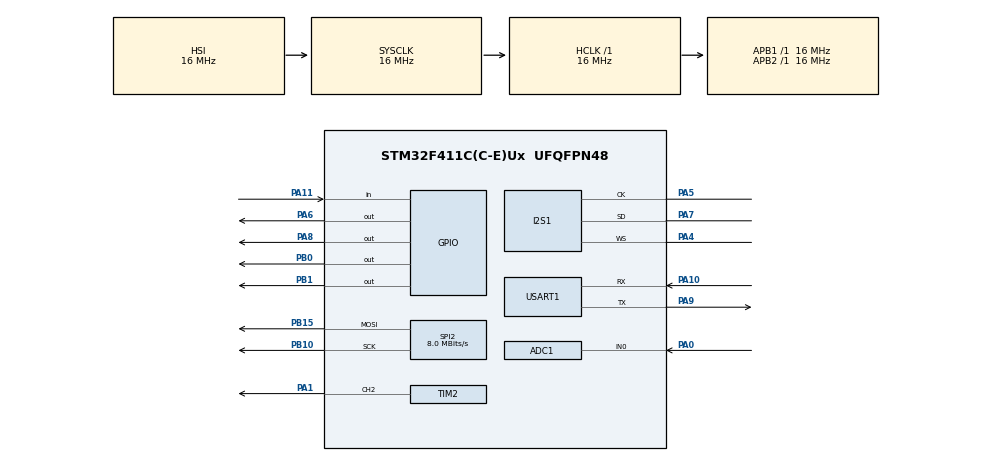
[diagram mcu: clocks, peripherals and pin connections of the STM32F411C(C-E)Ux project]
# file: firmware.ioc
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ADC1.Channel-0\#ChannelRegularConversion=ADC_CHANNEL_0
ADC1.NbrOfConversionFlag=1
ADC1.Rank-0\#ChannelRegularConversion=1
ADC1.SamplingTime-0\#ChannelRegularConversion=ADC_SAMPLETIME_3CYCLES
ADC1.master=1
Dma.Request0=SPI1_RX
Dma.SPI1_RX.0.Direction=DMA_PERIPH_TO_MEMORY
Dma.SPI1_RX.0.FIFOMode=DMA_FIFOMODE_DISABLE
Dma.SPI1_RX.0.Instance=DMA2_Stream0
Dma.SPI1_RX.0.MemDataAlignment=DMA_MDATAALIGN_HALFWORD
Dma.SPI1_RX.0.MemInc=DMA_MINC_ENABLE
Dma.SPI1_RX.0.Mode=DMA_CIRCULAR
Dma.SPI1_RX.0.PeriphDataAlignment=DMA_PDATAALIGN_HALFWORD
Dma.SPI1_RX.0.PeriphInc=DMA_PINC_DISABLE
Dma.SPI1_RX.0.Priority=DMA_PRIORITY_LOW
I2S1.AudioFreq=I2S_AUDIOFREQ_16K
I2S1.CPOL=I2S_CPOL_LOW
I2S1.DataFormat=I2S_DATAFORMAT_24B
I2S1.ErrorAudioFreq=-0.26 %
I2S1.FullDuplexMode=I2S_FULLDUPLEXMODE_DISABLE
I2S1.Instance=SPI$Index
I2S1.Mode=I2S_MODE_SLAVE_RX
I2S1.RealAudioFreq=15.957 KHz
I2S1.Standard=I2S_STANDARD_PHILIPS
I2S1.VirtualMode=I2S_MODE_SLAVE
Mcu.Family=STM32F4
Mcu.Name=STM32F411C(C-E)Ux
Mcu.Package=UFQFPN48
NVIC.DMA2_Stream0_IRQn=true\:0\:0\:false\:false\:true\:false\:true\:true
NVIC.PriorityGroup=NVIC_PRIORITYGROUP_4
PA0-WKUP.Signal=ADCx_IN0
PA1.Signal=S_TIM2_CH2
PA10.Mode=Asynchronous
PA10.Signal=USART1_RX
PA11.Signal=GPIO_Input
PA13.Signal=SYS_JTMS-SWDIO
PA14.Signal=SYS_JTCK-SWCLK
PA4.Mode=Half_Duplex_Slave
PA4.Signal=I2S1_WS
PA5.Mode=Half_Duplex_Slave
PA5.Signal=I2S1_CK
PA6.Signal=GPIO_Output
PA7.Mode=Half_Duplex_Slave
PA7.Signal=I2S1_SD
PA8.Signal=GPIO_Output
PA9.Mode=Asynchronous
PA9.Signal=USART1_TX
PB0.Signal=GPIO_Output
PB1.Signal=GPIO_Output
PB10.Mode=TX_Only_Simplex_Unidirect_Master
PB10.Signal=SPI2_SCK
PB15.Mode=TX_Only_Simplex_Unidirect_Master
PB15.Signal=SPI2_MOSI
PB3.Signal=SYS_JTDO-SWO
ProjectManager.HeapSize=0x200
ProjectManager.StackSize=0x400
ProjectManager.TargetToolchain=STM32CubeIDE
RCC.AHBFreq_Value=16000000
RCC.APB1Freq_Value=16000000
RCC.APB2Freq_Value=16000000
RCC.CortexFreq_Value=16000000
RCC.HSE_VALUE=25000000
RCC.HSI_VALUE=16000000
RCC.LSE_VALUE=32768
RCC.SYSCLKFreq_VALUE=16000000
RCC.VCOOutputFreq_Value=192000000
SH.ADCx_IN0.0=ADC1_IN0,IN0
SH.S_TIM2_CH2.0=TIM2_CH2,PWM Generation2 CH2
SPI2.CalculateBaudRate=8.0 MBits/s
SPI2.Direction=SPI_DIRECTION_2LINES
SPI2.Mode=SPI_MODE_MASTER
SPI2.VirtualType=VM_MASTER
TIM2.Channel-PWM\ Generation2\ CH2=TIM_CHANNEL_2
TIM2.Prescaler=1600-1
USART1.VirtualMode=VM_ASYNC
VP_TIM2_VS_ClockSourceINT.Mode=Internal
board=custom

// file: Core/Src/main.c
/* USER CODE BEGIN Header */
/**
  ******************************************************************************
  * @file           : main.c
  * @brief          : Main program body
  ******************************************************************************
  * @attention
  *
  * Copyright (c) 2025 STMicroelectronics.
  * All rights reserved.
  *
  * This software is licensed under terms that can be found in the LICENSE file
  * in the root directory of this software component.
  * If no LICENSE file comes with this software, it is provided AS-IS.
  *
  ******************************************************************************
  */
/* USER CODE END Header */
#include "main.h"

/* USER CODE BEGIN Includes */
#include <string.h>
#include <stdio.h>
#include "log.h"

/* USER CODE END Includes */

ADC_HandleTypeDef hadc1;

I2S_HandleTypeDef hi2s1;
DMA_HandleTypeDef hdma_spi1_rx;

SPI_HandleTypeDef hspi2;

TIM_HandleTypeDef htim2;

UART_HandleTypeDef huart1;

/* USER CODE BEGIN PV */
uint8_t isBufferFull = 0;
/* USER CODE END PV */

void SystemClock_Config(void);
static void MX_GPIO_Init(void);
static void MX_DMA_Init(void);
static void MX_ADC1_Init(void);
static void MX_I2S1_Init(void);
static void MX_SPI2_Init(void);
static void MX_TIM2_Init(void);
static void MX_USART1_UART_Init(void);

/* USER CODE BEGIN 0 */

void intArrayToString(const int32_t arr[], size_t len, char *buffer,
                      size_t buffer_size) {
  if (len == 0) {
    buffer[0] = '\0'; // Empty string for an empty array
    return;
  }

  size_t current_pos = 0;
  int chars_written;
// ((int32_t)((i2s_data[52] << 16) + i2s_data[53])) / 256
  for (size_t i = 0; i < len; ++i) {
    // Use snprintf to safely write integer to buffer
    // It returns the number of characters that *would* have been written
    // if buffer_size was large enough, excluding null terminator.
    // %#X
    chars_written = snprintf(buffer + current_pos, buffer_size - current_pos,
                             "%ld", arr[i]);

    // Check if snprintf failed or if the buffer is full
    if (chars_written < 0 ||
        (size_t)chars_written >= (buffer_size - current_pos)) {
      // Handle buffer overflow or error by truncating the string
      buffer[current_pos] = '\0';
      return;
    }
    current_pos += chars_written;

    // Add comma and space if not the last element
    if (i < len - 1) {
      if (current_pos + 2 < buffer_size) { // Check space for ", "
        strcat(buffer + current_pos, ", ");
        current_pos += 2;
      } else {
        buffer[current_pos] = '\0'; // Truncate if no space for separator
        return;
      }
    }
  }
}

void RxCpltCallback(I2S_HandleTypeDef *hi2s) {
  LOG_TRACE("callback!!");
  isBufferFull = 1U;
}

void ConvertI2S(uint32_t *buf, size_t len) {
  for (size_t i = 0; i < len; ++i) {
    buf[i] = (buf[i] >> 24) | ((int32_t)(buf[i] << 16) >> 8);
  }
}

/* USER CODE END 0 */

int main(void)
{

  /* MCU Configuration--------------------------------------------------------*/

  /* Reset of all peripherals, Initializes the Flash interface and the Systick. */
  HAL_Init();

  /* Configure the system clock */
  SystemClock_Config();

  /* Initialize all configured peripherals */
  MX_GPIO_Init();
  MX_DMA_Init();
  MX_ADC1_Init();
  MX_I2S1_Init();
  MX_SPI2_Init();
  MX_TIM2_Init();
  MX_USART1_UART_Init();
  /* USER CODE BEGIN 2 */

  HAL_GPIO_WritePin(GPIOA, GPIO_PIN_8, GPIO_PIN_SET); // Set high

  uint32_t audio_buffer[4096] = {0};

  logger_init(&huart1);

  if (HAL_I2S_RegisterCallback(&hi2s1, HAL_I2S_RX_COMPLETE_CB_ID, RxCpltCallback) == HAL_OK) {
    LOG_DEBUG("Registered callback");
  } else {
    LOG_ERROR("Failed to register callback");
    Error_Handler();
  };

  if (HAL_I2S_Receive_DMA(&hi2s1, (uint16_t*)audio_buffer, 4096) == HAL_OK) {
    LOG_DEBUG("Setup I2S DMA");
  } else {
    LOG_ERROR("Failed to setup I2S DMA");
    Error_Handler();
  }

  /* USER CODE END 2 */

  /* Infinite loop */
  while (1)
  {

    /* USER CODE BEGIN 3 */
    if (!isBufferFull) continue;
    isBufferFull = 0U;

    ConvertI2S(audio_buffer + 2048, 2048);

    char arr[4096];
    intArrayToString((int32_t*)(audio_buffer + 2048), 20, arr, 4096);

    LOG_TRACE("%s", arr);
  }
  /* USER CODE END 3 */
}

void SystemClock_Config(void)
{
  RCC_OscInitTypeDef RCC_OscInitStruct = {0};
  RCC_ClkInitTypeDef RCC_ClkInitStruct = {0};

  /** Macro to configure the PLL multiplication factor
  */
  __HAL_RCC_PLL_PLLM_CONFIG(16);

  /** Macro to configure the PLL clock source
  */
  __HAL_RCC_PLL_PLLSOURCE_CONFIG(RCC_PLLSOURCE_HSI);

  /** Configure the main internal regulator output voltage
  */
  __HAL_RCC_PWR_CLK_ENABLE();
  __HAL_PWR_VOLTAGESCALING_CONFIG(PWR_REGULATOR_VOLTAGE_SCALE1);

  /** Initializes the RCC Oscillators according to the specified parameters
  * in the RCC_OscInitTypeDef structure.
  */
  RCC_OscInitStruct.OscillatorType = RCC_OSCILLATORTYPE_HSI;
  RCC_OscInitStruct.HSIState = RCC_HSI_ON;
  RCC_OscInitStruct.HSICalibrationValue = RCC_HSICALIBRATION_DEFAULT;
  RCC_OscInitStruct.PLL.PLLState = RCC_PLL_NONE;
  RCC_OscInitStruct.PLL.PLLSource = RCC_PLLSOURCE_HSI;
  if (HAL_RCC_OscConfig(&RCC_OscInitStruct) != HAL_OK)
  {
    Error_Handler();
  }

  /** Initializes the CPU, AHB and APB buses clocks
  */
  RCC_ClkInitStruct.ClockType = RCC_CLOCKTYPE_HCLK|RCC_CLOCKTYPE_SYSCLK
                              |RCC_CLOCKTYPE_PCLK1|RCC_CLOCKTYPE_PCLK2;
  RCC_ClkInitStruct.SYSCLKSource = RCC_SYSCLKSOURCE_HSI;
  RCC_ClkInitStruct.AHBCLKDivider = RCC_SYSCLK_DIV1;
  RCC_ClkInitStruct.APB1CLKDivider = RCC_HCLK_DIV1;
  RCC_ClkInitStruct.APB2CLKDivider = RCC_HCLK_DIV1;

  if (HAL_RCC_ClockConfig(&RCC_ClkInitStruct, FLASH_LATENCY_0) != HAL_OK)
  {
    Error_Handler();
  }
}

static void MX_ADC1_Init(void)
{

  ADC_ChannelConfTypeDef sConfig = {0};

  /** Configure the global features of the ADC (Clock, Resolution, Data Alignment and number of conversion)
  */
  hadc1.Instance = ADC1;
  hadc1.Init.ClockPrescaler = ADC_CLOCK_SYNC_PCLK_DIV2;
  hadc1.Init.Resolution = ADC_RESOLUTION_12B;
  hadc1.Init.ScanConvMode = DISABLE;
  hadc1.Init.ContinuousConvMode = DISABLE;
  hadc1.Init.DiscontinuousConvMode = DISABLE;
  hadc1.Init.ExternalTrigConvEdge = ADC_EXTERNALTRIGCONVEDGE_NONE;
  hadc1.Init.ExternalTrigConv = ADC_SOFTWARE_START;
  hadc1.Init.DataAlign = ADC_DATAALIGN_RIGHT;
  hadc1.Init.NbrOfConversion = 1;
  hadc1.Init.DMAContinuousRequests = DISABLE;
  hadc1.Init.EOCSelection = ADC_EOC_SINGLE_CONV;
  if (HAL_ADC_Init(&hadc1) != HAL_OK)
  {
    Error_Handler();
  }

  /** Configure for the selected ADC regular channel its corresponding rank in the sequencer and its sample time.
  */
  sConfig.Channel = ADC_CHANNEL_0;
  sConfig.Rank = 1;
  sConfig.SamplingTime = ADC_SAMPLETIME_3CYCLES;
  if (HAL_ADC_ConfigChannel(&hadc1, &sConfig) != HAL_OK)
  {
    Error_Handler();
  }

}

static void MX_I2S1_Init(void)
{

  hi2s1.Instance = SPI1;
  hi2s1.Init.Mode = I2S_MODE_SLAVE_RX;
  hi2s1.Init.Standard = I2S_STANDARD_PHILIPS;
  hi2s1.Init.DataFormat = I2S_DATAFORMAT_24B;
  hi2s1.Init.MCLKOutput = I2S_MCLKOUTPUT_DISABLE;
  hi2s1.Init.AudioFreq = I2S_AUDIOFREQ_16K;
  hi2s1.Init.CPOL = I2S_CPOL_LOW;
  hi2s1.Init.ClockSource = I2S_CLOCK_PLL;
  hi2s1.Init.FullDuplexMode = I2S_FULLDUPLEXMODE_DISABLE;
  if (HAL_I2S_Init(&hi2s1) != HAL_OK)
  {
    Error_Handler();
  }

}

static void MX_SPI2_Init(void)
{

  /* SPI2 parameter configuration*/
  hspi2.Instance = SPI2;
  hspi2.Init.Mode = SPI_MODE_MASTER;
  hspi2.Init.Direction = SPI_DIRECTION_2LINES;
  hspi2.Init.DataSize = SPI_DATASIZE_8BIT;
  hspi2.Init.CLKPolarity = SPI_POLARITY_LOW;
  hspi2.Init.CLKPhase = SPI_PHASE_1EDGE;
  hspi2.Init.NSS = SPI_NSS_SOFT;
  hspi2.Init.BaudRatePrescaler = SPI_BAUDRATEPRESCALER_2;
  hspi2.Init.FirstBit = SPI_FIRSTBIT_MSB;
  hspi2.Init.TIMode = SPI_TIMODE_DISABLE;
  hspi2.Init.CRCCalculation = SPI_CRCCALCULATION_DISABLE;
  hspi2.Init.CRCPolynomial = 10;
  if (HAL_SPI_Init(&hspi2) != HAL_OK)
  {
    Error_Handler();
  }

}

static void MX_TIM2_Init(void)
{

  TIM_ClockConfigTypeDef sClockSourceConfig = {0};
  TIM_MasterConfigTypeDef sMasterConfig = {0};
  TIM_OC_InitTypeDef sConfigOC = {0};

  htim2.Instance = TIM2;
  htim2.Init.Prescaler = 1600-1;
  htim2.Init.CounterMode = TIM_COUNTERMODE_UP;
  htim2.Init.Period = 4294967295;
  htim2.Init.ClockDivision = TIM_CLOCKDIVISION_DIV1;
  htim2.Init.AutoReloadPreload = TIM_AUTORELOAD_PRELOAD_DISABLE;
  if (HAL_TIM_Base_Init(&htim2) != HAL_OK)
  {
    Error_Handler();
  }
  sClockSourceConfig.ClockSource = TIM_CLOCKSOURCE_INTERNAL;
  if (HAL_TIM_ConfigClockSource(&htim2, &sClockSourceConfig) != HAL_OK)
  {
    Error_Handler();
  }
  if (HAL_TIM_PWM_Init(&htim2) != HAL_OK)
  {
    Error_Handler();
  }
  sMasterConfig.MasterOutputTrigger = TIM_TRGO_RESET;
  sMasterConfig.MasterSlaveMode = TIM_MASTERSLAVEMODE_DISABLE;
  if (HAL_TIMEx_MasterConfigSynchronization(&htim2, &sMasterConfig) != HAL_OK)
  {
    Error_Handler();
  }
  sConfigOC.OCMode = TIM_OCMODE_PWM1;
  sConfigOC.Pulse = 0;
  sConfigOC.OCPolarity = TIM_OCPOLARITY_HIGH;
  sConfigOC.OCFastMode = TIM_OCFAST_DISABLE;
  if (HAL_TIM_PWM_ConfigChannel(&htim2, &sConfigOC, TIM_CHANNEL_2) != HAL_OK)
  {
    Error_Handler();
  }
  HAL_TIM_MspPostInit(&htim2);

}

static void MX_USART1_UART_Init(void)
{

  huart1.Instance = USART1;
  huart1.Init.BaudRate = 115200;
  huart1.Init.WordLength = UART_WORDLENGTH_8B;
  huart1.Init.StopBits = UART_STOPBITS_1;
  huart1.Init.Parity = UART_PARITY_NONE;
  huart1.Init.Mode = UART_MODE_TX_RX;
  huart1.Init.HwFlowCtl = UART_HWCONTROL_NONE;
  huart1.Init.OverSampling = UART_OVERSAMPLING_16;
  if (HAL_UART_Init(&huart1) != HAL_OK)
  {
    Error_Handler();
  }

}

static void MX_DMA_Init(void)
{

  /* DMA controller clock enable */
  __HAL_RCC_DMA2_CLK_ENABLE();

  /* DMA interrupt init */
  /* DMA2_Stream0_IRQn interrupt configuration */
  HAL_NVIC_SetPriority(DMA2_Stream0_IRQn, 0, 0);
  HAL_NVIC_EnableIRQ(DMA2_Stream0_IRQn);

}

static void MX_GPIO_Init(void)
{
  GPIO_InitTypeDef GPIO_InitStruct = {0};

  /* GPIO Ports Clock Enable */
  __HAL_RCC_GPIOA_CLK_ENABLE();
  __HAL_RCC_GPIOB_CLK_ENABLE();

  /*Configure GPIO pin Output Level */
  HAL_GPIO_WritePin(GPIOA, GPIO_PIN_6|GPIO_PIN_8, GPIO_PIN_RESET);

  /*Configure GPIO pin Output Level */
  HAL_GPIO_WritePin(GPIOB, GPIO_PIN_0|GPIO_PIN_1, GPIO_PIN_RESET);

  /*Configure GPIO pins : PA6 PA8 */
  GPIO_InitStruct.Pin = GPIO_PIN_6|GPIO_PIN_8;
  GPIO_InitStruct.Mode = GPIO_MODE_OUTPUT_PP;
  GPIO_InitStruct.Pull = GPIO_NOPULL;
  GPIO_InitStruct.Speed = GPIO_SPEED_FREQ_LOW;
  HAL_GPIO_Init(GPIOA, &GPIO_InitStruct);

  /*Configure GPIO pins : PB0 PB1 */
  GPIO_InitStruct.Pin = GPIO_PIN_0|GPIO_PIN_1;
  GPIO_InitStruct.Mode = GPIO_MODE_OUTPUT_PP;
  GPIO_InitStruct.Pull = GPIO_NOPULL;
  GPIO_InitStruct.Speed = GPIO_SPEED_FREQ_LOW;
  HAL_GPIO_Init(GPIOB, &GPIO_InitStruct);

  /*Configure GPIO pin : PA11 */
  GPIO_InitStruct.Pin = GPIO_PIN_11;
  GPIO_InitStruct.Mode = GPIO_MODE_INPUT;
  GPIO_InitStruct.Pull = GPIO_NOPULL;
  HAL_GPIO_Init(GPIOA, &GPIO_InitStruct);

}

void Error_Handler(void)
{
  /* USER CODE BEGIN Error_Handler_Debug */
  /* User can add his own implementation to report the HAL error return state */
  __disable_irq();

  LOG_ERROR("Something went wrong...");
  while (1)
  {
  }
  /* USER CODE END Error_Handler_Debug */
}
